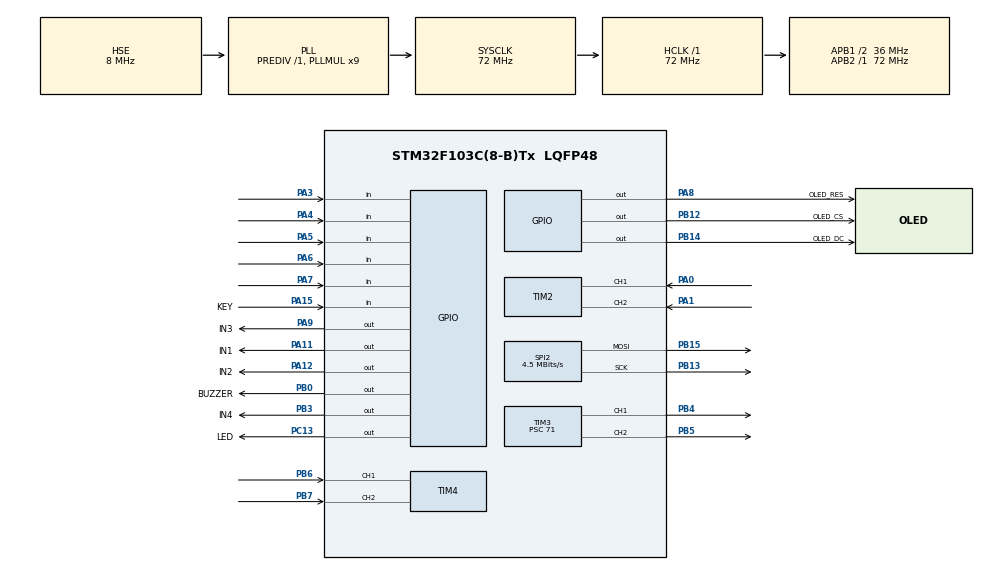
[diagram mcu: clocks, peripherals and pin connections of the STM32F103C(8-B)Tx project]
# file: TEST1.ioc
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ADC1.ContinuousConvMode=DISABLE
ADC1.EnableRegularConversion=DISABLE
ADC1.master=1
Mcu.Family=STM32F1
Mcu.Name=STM32F103C(8-B)Tx
Mcu.Package=LQFP48
NVIC.PriorityGroup=NVIC_PRIORITYGROUP_4
PA0-WKUP.Signal=S_TIM2_CH1_ETR
PA1.Signal=S_TIM2_CH2
PA11.GPIO_Label=IN1
PA11.GPIO_Speed=GPIO_SPEED_FREQ_HIGH
PA11.Signal=GPIO_Output
PA12.GPIO_Label=IN2
PA12.GPIO_Speed=GPIO_SPEED_FREQ_HIGH
PA12.Signal=GPIO_Output
PA13.Mode=Serial_Wire
PA13.Signal=SYS_JTMS-SWDIO
PA14.Mode=Serial_Wire
PA14.Signal=SYS_JTCK-SWCLK
PA15.GPIO_Label=KEY
PA15.GPIO_PuPd=GPIO_PULLUP
PA15.Signal=GPIO_Input
PA3.GPIO_PuPd=GPIO_PULLUP
PA3.Signal=GPIO_Input
PA4.GPIO_PuPd=GPIO_PULLUP
PA4.Signal=GPIO_Input
PA5.GPIO_PuPd=GPIO_PULLUP
PA5.Signal=GPIO_Input
PA6.GPIO_PuPd=GPIO_PULLUP
PA6.Signal=GPIO_Input
PA7.GPIO_PuPd=GPIO_PULLUP
PA7.Signal=GPIO_Input
PA8.GPIO_Label=OLED_RES
PA8.GPIO_Speed=GPIO_SPEED_FREQ_HIGH
PA8.Signal=GPIO_Output
PA9.GPIO_Label=IN3
PA9.GPIO_Speed=GPIO_SPEED_FREQ_HIGH
PA9.Signal=GPIO_Output
PB0.GPIO_Label=BUZZER
PB0.GPIO_Speed=GPIO_SPEED_FREQ_LOW
PB0.Signal=GPIO_Output
PB12.GPIO_Label=OLED_CS
PB12.GPIO_Speed=GPIO_SPEED_FREQ_HIGH
PB12.Signal=GPIO_Output
PB13.Mode=TX_Only_Simplex_Unidirect_Master
PB13.Signal=SPI2_SCK
PB14.GPIO_Label=OLED_DC
PB14.GPIO_Speed=GPIO_SPEED_FREQ_HIGH
PB14.Signal=GPIO_Output
PB15.Mode=TX_Only_Simplex_Unidirect_Master
PB15.Signal=SPI2_MOSI
PB3.GPIO_Label=IN4
PB3.GPIO_Speed=GPIO_SPEED_FREQ_HIGH
PB3.Signal=GPIO_Output
PB4.Signal=S_TIM3_CH1
PB5.Signal=S_TIM3_CH2
PB6.Signal=S_TIM4_CH1
PB7.Signal=S_TIM4_CH2
PC13.GPIO_Label=LED
PC13.GPIO_Speed=GPIO_SPEED_FREQ_LOW
PC13.Signal=GPIO_Output
PC14-OSC32_IN.Mode=LSE-External-Oscillator
PC14-OSC32_IN.Signal=RCC_OSC32_IN
PC15-OSC32_OUT.Mode=LSE-External-Oscillator
PC15-OSC32_OUT.Signal=RCC_OSC32_OUT
PD0-OSC_IN.Mode=HSE-External-Oscillator
PD0-OSC_IN.Signal=RCC_OSC_IN
PD1-OSC_OUT.Mode=HSE-External-Oscillator
PD1-OSC_OUT.Signal=RCC_OSC_OUT
ProjectManager.HeapSize=0x200
ProjectManager.StackSize=0x400
ProjectManager.TargetToolchain=MDK-ARM V5.32
RCC.ADCPresc=RCC_ADCPCLK2_DIV6
RCC.AHBFreq_Value=72000000
RCC.APB1CLKDivider=RCC_HCLK_DIV2
RCC.APB1Freq_Value=36000000
RCC.APB1TimFreq_Value=72000000
RCC.APB2Freq_Value=72000000
RCC.APB2TimFreq_Value=72000000
RCC.HCLKFreq_Value=72000000
RCC.PLLMUL=RCC_PLL_MUL9
RCC.PLLSourceVirtual=RCC_PLLSOURCE_HSE
RCC.SYSCLKFreq_VALUE=72000000
RCC.SYSCLKSource=RCC_SYSCLKSOURCE_PLLCLK
RCC.USBFreq_Value=72000000
SH.S_TIM2_CH1_ETR.0=TIM2_CH1,Encoder_Interface
SH.S_TIM2_CH2.0=TIM2_CH2,Encoder_Interface
SH.S_TIM3_CH1.0=TIM3_CH1,PWM Generation1 CH1
SH.S_TIM3_CH2.0=TIM3_CH2,PWM Generation2 CH2
SH.S_TIM4_CH1.0=TIM4_CH1,Encoder_Interface
SH.S_TIM4_CH2.0=TIM4_CH2,Encoder_Interface
SPI2.BaudRatePrescaler=SPI_BAUDRATEPRESCALER_8
SPI2.CLKPhase=SPI_PHASE_1EDGE
SPI2.CLKPolarity=SPI_POLARITY_LOW
SPI2.CRCCalculation=SPI_CRCCALCULATION_DISABLE
SPI2.CRCPolynomial=10
SPI2.CalculateBaudRate=4.5 MBits/s
SPI2.DataSize=SPI_DATASIZE_8BIT
SPI2.Direction=SPI_DIRECTION_2LINES
SPI2.FirstBit=SPI_FIRSTBIT_MSB
SPI2.Mode=SPI_MODE_MASTER
SPI2.NSS=SPI_NSS_SOFT
SPI2.TIMode=SPI_TIMODE_DISABLE
SPI2.VirtualType=VM_MASTER
TIM3.AutoReloadPreload=TIM_AUTORELOAD_PRELOAD_ENABLE
TIM3.Channel-PWM\ Generation1\ CH1=TIM_CHANNEL_1
TIM3.Channel-PWM\ Generation2\ CH2=TIM_CHANNEL_2
TIM3.Period=999
TIM3.Prescaler=71
VP_ADC1_TempSens_Input.Mode=IN-TempSens
VP_TIM3_VS_ClockSourceINT.Mode=Internal
board=custom

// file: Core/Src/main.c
/* USER CODE BEGIN Header */
/**
  ******************************************************************************
  * @file           : main.c
  * @brief          : Main program body
  ******************************************************************************
  * @attention
  *
  * Copyright (c) 2026 STMicroelectronics.
  * All rights reserved.
  *
  * This software is licensed under terms that can be found in the LICENSE file
  * in the root directory of this software component.
  * If no LICENSE file comes with this software, it is provided AS-IS.
  *
  ******************************************************************************
  */
/* USER CODE END Header */
#include "main.h"
#include "adc.h"
#include "spi.h"
#include "tim.h"
#include "gpio.h"

/* USER CODE BEGIN Includes */
#include "motor.h"
#include "encoder.h"
#include "track.h"
#include "key.h"
#include "oled.h"
#include "stopwatch.h"
#include "mileage.h"
#include "signal.h"
#include "config.h"
/* USER CODE END Includes */

void SystemClock_Config(void);

/* USER CODE BEGIN 0 */

/* 控制节拍: 由 SysTick(1ms) 分频得到, 周期 = config.h 里的 CTRL_PERIOD_MS。
 * 传感器采样 + 循迹控制都放在这一拍里, 保证时间基准一致。 */
void CtrlLoop(void)
{
    uint8_t mask;
    int16_t err;

    /* 电机自检(长按 PA15)期间, 控制环必须让路, 否则它会每拍把电机停掉 */
    if (g_motor_busy) return;

    mask = Track_GetMask();

    /* ★ 里程 / A·B 点(2026-09-29 新增)。必须放在最前面:
     *   ① 它每拍都要刷新里程(用编码器);
     *   ② 下面停止线的"里程门槛"要读它刚算好的值;
     *   ③ 跨过 B 点/A 点时它会给一次声光提示(只记事件, 实际发声由主循环的
     *      Signal_Task 做 —— 这里是中断上下文, 不能在里面做有时序的动作)。 */
    Mileage_Task();

    /* ★ 停止线检测(2026-09-29 新增)。放在控制计算【之前】:
     *   一旦判定压到停止线, Track_StopDetect 内部已经断油停车,
     *   这里必须直接结束本拍 —— 若继续往下算控制量, 会把刚停住的
     *   电机又推起来, 车就"停不下来"了。
     *   ★ 判据是【里程门槛 + 连续几路压黑 + 连续几拍】三者同时成立,
     *     详见 config.h 的 STOP_LINE_* 一组宏(以及"为什么三路会误判")。 */
    if (Track_StopDetect(mask) != 0u)
    {
        return;
    }

    err  = Track_GetLineError(mask);
    Track_Control(err);
}

/* USER CODE END 0 */

int main(void)
{

  /* MCU Configuration--------------------------------------------------------*/

  /* Reset of all peripherals, Initializes the Flash interface and the Systick. */
  HAL_Init();

  /* Configure the system clock */
  SystemClock_Config();

  /* Initialize all configured peripherals */
  MX_GPIO_Init();
  MX_TIM3_Init();
  MX_ADC1_Init();
  MX_TIM2_Init();
  MX_TIM4_Init();
  MX_SPI2_Init();
  /* USER CODE BEGIN 2 */
  Motor_Init();
  Encoder_Init();      /* 编码器只初始化/复位, 不参与电机控制(H 题里程/停车精度要用)。
                        * ★★ 累计计数靠 Mileage_Task() 里的 Encoder_Update() 每拍推进 ——
                        *   它挂在 CtrlLoop 上, 漏了它 ENC 会一直是 0。见 encoder.h 开头。 */
  Track_Init();
  Track_LoadSettings();/* 读回上次用按键标定并保存的极性; 没存过就用 config.h 默认值 */

  /* 跑圈计时(2026-09-29 加)。不用按键 —— 它自动跟着循迹开关走:
   * 短按启动表归零开跑, 短按停止就冻结成这一圈的成绩。 */
  Stopwatch_Init();

  /* ★ 声光提示(2026-09-29 加)。放在这里而不放在后面是有意的:
   *   蜂鸣器是【高电平响】(2026-09-29 实测确认), 而 CubeMX 生成的 gpio.c
   *   把 PB0 初置成 SET(高) —— 那一瞬间它会响一下。Signal_Init() 立刻把它
   *   置回"不响"(低), 所以必须尽早调用。 */
  Signal_Init();

  /* ★ 里程 / A·B 点(2026-09-29 加)。标定值(MILEAGE_LAP_COUNT)没填之前
   *   它什么都不做 —— 这是有意的, 免得拿一个假数去触发提示。 */
  Mileage_Init();

  /* OLED (1.3 寸 SH1106, SPI2)。本工程没有串口, 这块屏就是调试窗口 ——
   * 它会显示误差 / 基础速度 / 差速 / 左右 PWM / 五路探头 / 编码器计数。
   * 屏幕能正常点亮即说明 SPI2 + 那三根控制线都接对了。 */
  Oled_Init();
  /* USER CODE END 2 */

  /* Infinite loop */
  while (1)
  {

    /* USER CODE BEGIN 3 */
    uint8_t key = Key_Scan();

    if (key == KEY_LONG)
    {
      /* 长按 PA15: 电机自检(左轮转1s -> 右轮转1s), 用来确认接线/左右/转向。
       * 先强制停车, 免得自检和循迹环抢电机。请把轮子架空再做。 */
      Track_SetEnabled(0);
      Motor_All_Stop();
      Motor_SelfTest();
    }
    else if (key == KEY_DOUBLE)
    {
      /* 双击 PA15: 切换传感器极性(黑线对应低电平 / 高电平)。
       * 做成可切换是因为本工程没串口, 极性搞反了只能上车试,
       * 这样不用重新编译下载就能很快试出来。
       * ★ 切换结果会立刻写进 Flash —— 断电/复位/重新烧录都不会丢。
       * 反馈: 两个轮子一起短促抖两下 = 已切换。然后短按启动看车是不是在追黑线。 */
      Track_SetEnabled(0);
      Motor_All_Stop();
      Track_ToggleActiveLevel();
      Motor_Ack();
    }
    else if (key == KEY_TRIPLE)
    {
      /* 三击 PA15: 切换【转向极性】(修正方向反过来)。
       * 用于"巡线时左右轮修正方向反了": 黑线偏左车却往右拐, 越拐越远。
       * 成因是传感器排针左右顺序接反 或 电机左右接线对调, 现象一样,
       * 翻一次这个开关即可, 不用改线。
       * ★ 切换结果会立刻写进 Flash —— 以前只存在内存里, 重新烧录/断电就
       *   退回默认值, 于是"好端端的车突然朝赛道对角直冲"; 现在不会了。
       * 反馈: 左轮抖一下 -> 右轮抖一下(和双击的"两轮同时抖两下"区分开)。
       * 切完短按启动, 把黑线放最左探头下, 看车往哪边转。
       * (本车实车标定的正确值是 (-1), 也就是 config.h 里的默认值 ——
       *  正常情况下不用动它。只有换了车/重接了线才需要在这里切。) */
      Track_SetEnabled(0);
      Motor_All_Stop();
      Track_ToggleTurnSign();
      Motor_AckTurn();
    }
    else if (key == KEY_SHORT)
    {
      /* 单击 PA15: 启动 / 停止 循迹 */
      if (Track_GetEnabled() == 0)
      {
        /* ★ 启动前先确认探头能看到黑线。
         *   看不到就别动 —— 否则车会在完全不知道线在哪的情况下按基础
         *   速度冲出去(旧版本正是这样一路冲到赛道对角去的, 因为此时
         *   "偏离方向"还是未知, 控制量算出来是 0 = 直行且全速)。
         *   看不到时的反馈: 两个轮子抖两下。遇到这种情况:
         *     ① 看车是不是真的压在黑线上;  ② 试【双击 PA15】切一次极性。 */
        if (Track_StartOk())
        {
          Encoder_Reset();
          Track_SetEnabled(1);
        }
        else
        {
          Motor_Ack();
        }
      }
      else
      {
        Track_SetEnabled(0);
        Motor_All_Stop();
      }
    }

    /* 跑圈计时。必须在 Oled_Task() 之前 —— 屏上显示的就是它刚更新的值。
     * 它同时负责检测"循迹 0->1 / 1->0"这两个边沿(表归零 / 表冻结),
     * 所以这里每圈都要调。 */
    Stopwatch_Task();

    /* ★ 声光提示(2026-09-29 加)。控制中断里只记"到过 B 点/A 点"的事件,
     * 真正让蜂鸣器响、让灯闪是在这里做的 —— 响/闪都要持续几十上百毫秒,
     * 只能在主循环用非阻塞的状态机推进。
     * ⚠ 必须在 Oled_Task() 之前: 它很快(几十微秒), 而刷屏要阻塞约 1.8 ms,
     *   放后面会让提示音的时序被拉长。 */
    Signal_Task();

    /* 刷 OLED。内部自己按 OLED_REFRESH_MS(默认 100ms) 限速,
     * 所以这里每圈都调也没关系。 */
    Oled_Task();
  }
  /* USER CODE END 3 */
}

void SystemClock_Config(void)
{
  RCC_OscInitTypeDef RCC_OscInitStruct = {0};
  RCC_ClkInitTypeDef RCC_ClkInitStruct = {0};
  RCC_PeriphCLKInitTypeDef PeriphClkInit = {0};

  /** Initializes the RCC Oscillators according to the specified parameters
  * in the RCC_OscInitTypeDef structure.
  */
  RCC_OscInitStruct.OscillatorType = RCC_OSCILLATORTYPE_HSE;
  /* ⚠⚠ 2026-09-28 重要: 这里必须是 RCC_HSE_ON, 不能是 RCC_HSE_OFF!!
   * 本板用 8 MHz 外部晶振, PLL 源也选的是 HSE(PLLSource = HSE)。
   * 如果 HSEState 写成 OFF, PLL 永远锁不上 -> HAL_RCC_OscConfig / ClockConfig
   * 直接失败 -> 掉进 Error_Handler 死循环, 开发板表现就是"上电什么反应都没有"。
   * (这个坑 2026-09-25 踩过一次, 原因是 .ioc 里的 PD0-OSC_IN 引脚被误删,
   *  CubeMX 于是以为 HSE 没启用, 重新生成代码就把它写成 OFF 了。
   *  .ioc 已修正, 但每次重新生成后都建议扫一眼这里。) */
  RCC_OscInitStruct.HSEState = RCC_HSE_ON;
  RCC_OscInitStruct.HSEPredivValue = RCC_HSE_PREDIV_DIV1;
  RCC_OscInitStruct.HSIState = RCC_HSI_ON;
  RCC_OscInitStruct.PLL.PLLState = RCC_PLL_ON;
  RCC_OscInitStruct.PLL.PLLSource = RCC_PLLSOURCE_HSE;
  RCC_OscInitStruct.PLL.PLLMUL = RCC_PLL_MUL9;
  if (HAL_RCC_OscConfig(&RCC_OscInitStruct) != HAL_OK)
  {
    Error_Handler();
  }

  /** Initializes the CPU, AHB and APB buses clocks
  */
  RCC_ClkInitStruct.ClockType = RCC_CLOCKTYPE_HCLK|RCC_CLOCKTYPE_SYSCLK
                              |RCC_CLOCKTYPE_PCLK1|RCC_CLOCKTYPE_PCLK2;
  RCC_ClkInitStruct.SYSCLKSource = RCC_SYSCLKSOURCE_PLLCLK;
  RCC_ClkInitStruct.AHBCLKDivider = RCC_SYSCLK_DIV1;
  RCC_ClkInitStruct.APB1CLKDivider = RCC_HCLK_DIV2;
  RCC_ClkInitStruct.APB2CLKDivider = RCC_HCLK_DIV1;

  if (HAL_RCC_ClockConfig(&RCC_ClkInitStruct, FLASH_LATENCY_2) != HAL_OK)
  {
    Error_Handler();
  }
  PeriphClkInit.PeriphClockSelection = RCC_PERIPHCLK_ADC;
  PeriphClkInit.AdcClockSelection = RCC_ADCPCLK2_DIV6;
  if (HAL_RCCEx_PeriphCLKConfig(&PeriphClkInit) != HAL_OK)
  {
    Error_Handler();
  }
}

void Error_Handler(void)
{
  __disable_irq();
  while (1)
  {
  }
}
